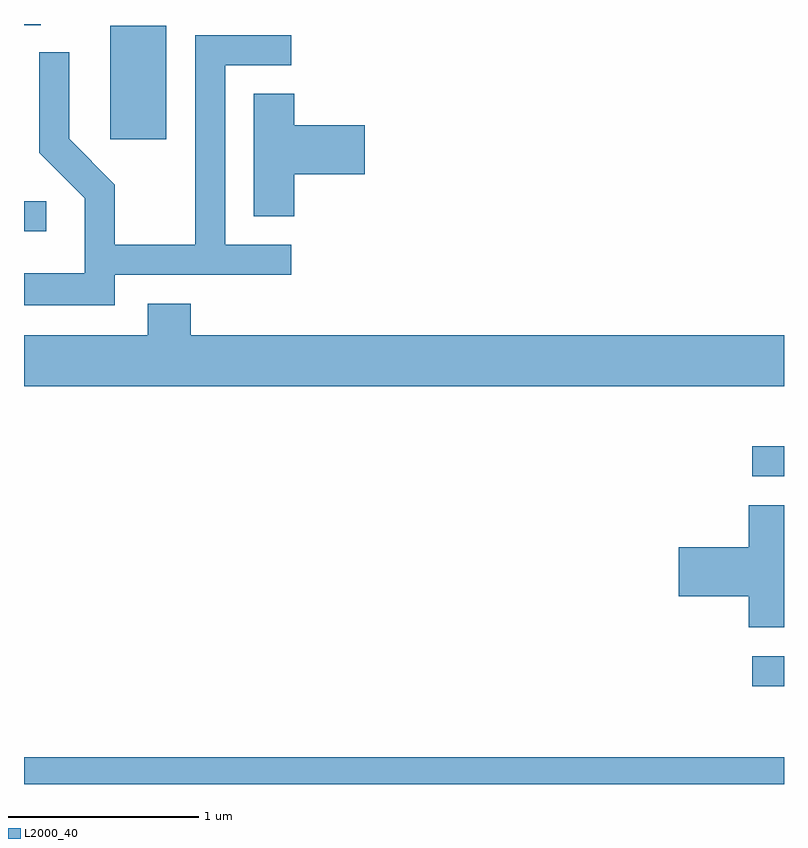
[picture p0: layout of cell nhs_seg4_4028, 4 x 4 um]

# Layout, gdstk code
import gdstk
lib = gdstk.Library(unit=1e-6, precision=1e-09)
def R(c, l, rs):  # rectangles x0, y0, x1, y1
    for r in rs: c.add(gdstk.rectangle(r[:2], r[2:], *l))
def P(c, l, *ps):  # polygons
    for p in ps: c.add(gdstk.Polygon(p, *l))
L2000_40 = (2000, 40)

nhs_seg4_4028 = lib.new_cell('nhs_seg4_4028')
R(nhs_seg4_4028, L2000_40, [(303.611,1285.982,307.611,1286.124), (307.443,1286.496,307.611,1286.654), (307.443,1287.601,307.611,1287.759), (303.611,1288.891,303.728,1289.049), (304.066,1289.376,304.359,1289.974), (303.611,1289.976,303.698,1289.982)])
P(nhs_seg4_4028, L2000_40, [(304.089,1288.661),(305.018,1288.661),(305.018,1288.819),(304.669,1288.819),(304.669,1289.766),(305.018,1289.766),(305.018,1289.924),(304.511,1289.924),(304.511,1288.819),(304.089,1288.819),(304.089,1289.137),(303.849,1289.377),(303.849,1289.833),(303.691,1289.833),(303.691,1289.304),(303.931,1289.064),(303.931,1288.669),(303.611,1288.669),(303.611,1288.501),(304.089,1288.501)],
  [(305.034,1289.191),(305.404,1289.191),(305.404,1289.449),(305.034,1289.449),(305.034,1289.614),(304.821,1289.614),(304.821,1288.971),(305.034,1288.971)],
  [(307.611,1288.344),(304.489,1288.344),(304.489,1288.509),(304.261,1288.509),(304.261,1288.344),(303.611,1288.344),(303.611,1288.076),(307.611,1288.076)],
  [(307.611,1287.449),(307.426,1287.449),(307.426,1287.229),(307.056,1287.229),(307.056,1286.971),(307.426,1286.971),(307.426,1286.806),(307.611,1286.806)])

lib.write_gds('nhs_seg4_4028.gds')
